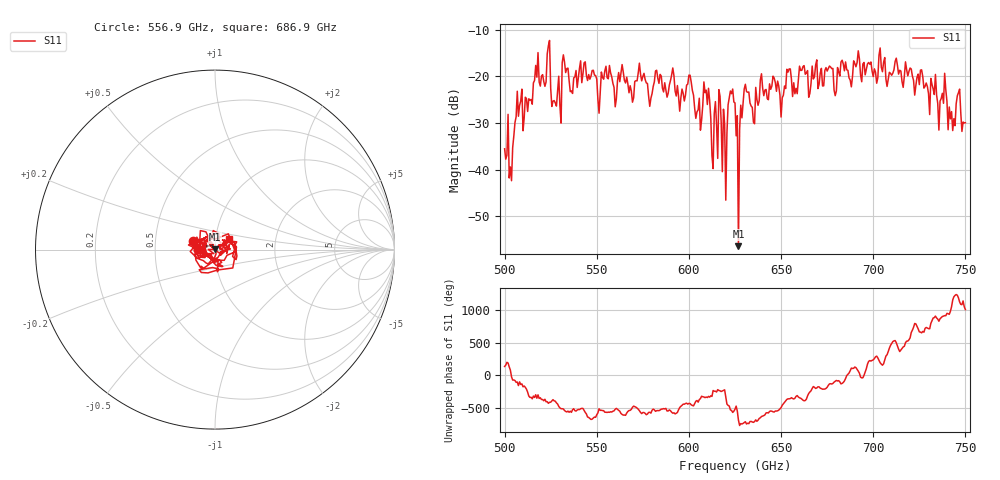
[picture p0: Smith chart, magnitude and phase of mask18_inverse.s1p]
!Created with skrf (http://scikit-rf.org).
# GHz S MA R 50.0
!freq magS11 angS11
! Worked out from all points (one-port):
!   401 points, 500 GHz to 750 GHz, reference 50 ohm
!   lowest |S11| = -56.4 dB at 626.9 GHz (marker M1), VSWR 1.00, Z = 50.1 + j0.0956 ohm
!   |S11| at or under -10 dB: start of sweep to end of sweep
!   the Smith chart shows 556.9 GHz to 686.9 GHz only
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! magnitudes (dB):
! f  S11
! 500 GHz  -35.5
! 503.8 GHz  -42.4
! 508.1 GHz  -26.3
! 511.2 GHz  -24.5
! 516.9 GHz  -17.7
! 523.8 GHz  -13.4
! 526.9 GHz  -25.2
! 531.2 GHz  -17.1
! 562.5 GHz  -21.1
! 593.8 GHz  -22.0
! 600 GHz  -19.7
! 605.6 GHz  -24.7
! 609.4 GHz  -23.0
! 612.5 GHz  -37.0
! 617.5 GHz  -29.7
! 619.4 GHz  -30.2
! 622.5 GHz  -23.1
! 625 GHz  -25.7
! 625.6 GHz  -32.7
! 626.9 GHz  -56.4
! 631.2 GHz  -23.3
! 634.4 GHz  -26.7
! 640 GHz  -22.5
! 656.2 GHz  -24.3
! 687.5 GHz  -20.8
! 718.8 GHz  -19.9
! 746.2 GHz  -23.5
! 750 GHz  -29.9
